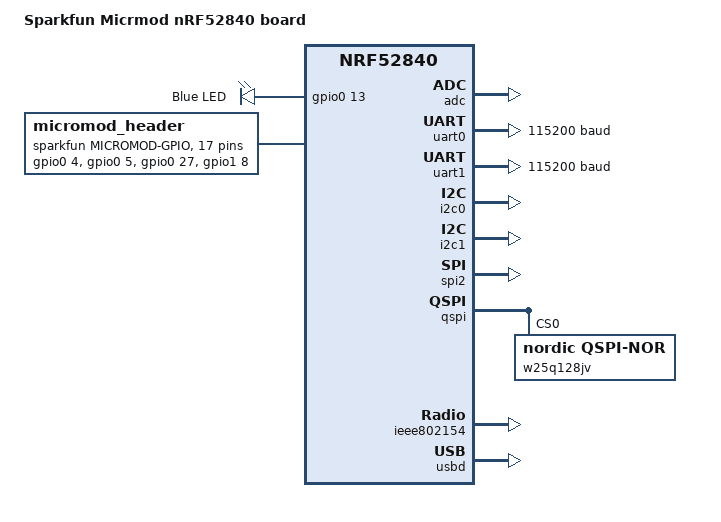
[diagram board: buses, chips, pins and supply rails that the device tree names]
/*
 * Copyright (c) 2024 Jerónimo Agulló <jeronimoagullo97@gmail.com>
 *
 * SPDX-License-Identifier: Apache-2.0
 */

/dts-v1/;
#include <nordic/nrf52840_qiaa.dtsi>
#include "micromod_nrf52840-pinctrl.dtsi"
#include <zephyr/dt-bindings/input/input-event-codes.h>

/ {
	model = "Sparkfun Micrmod nRF52840 board";
	compatible = "sparkfun,micromod-nrf52840";

	chosen {
		zephyr,console = &uart0;
		zephyr,sram = &sram0;
		zephyr,flash = &flash0;
		zephyr,code-partition = &slot0_partition;
		zephyr,ieee802154 = &ieee802154;
	};

	/* These aliases are provided for compatibility with samples */
	aliases {
		led0 = &led0;
		watchdog0 = &wdt0;
	};

	leds {
		compatible = "gpio-leds";
		led0: led_0 {
			gpios = <&gpio0 13 0>;
			label = "Blue LED";
		};
	};

	micromod_header: connector {
		compatible = "sparkfun,micromod-gpio";
		#gpio-cells = <2>;
		gpio-map-mask = <0xffffffff 0xffffffc0>;
		gpio-map-pass-thru = <0 0x3f>;
		gpio-map = <0 0 &gpio0 4 0>,	/* A0 */
			   <1 0 &gpio0 5 0>,	/* A1 */
			   <2 0 &gpio0 27 0>,	/* D0 */
			   <3 0 &gpio1 8 0>,	/* D1/CAM_TRIG */
			   <4 0 &gpio0 15 0>,	/* I2C_INT# */
			   <5 0 &gpio0 29 0>,	/* G0/BUS0 */
			   <6 0 &gpio0 3 0>,	/* G1/BUS1 */
			   <7 0 &gpio1 13 0>,	/* G2/BUS2 */
			   <8 0 &gpio1 12 0>,	/* G3/BUS3 */
			   <9 0 &gpio1 11 0>,	/* G4/BUS4 */
			   <10 0 &gpio0 17 0>,	/* G5/BUS5 */
			   <11 0 &gpio1 6 0>,	/* G6/BUS6 */
			   <12 0 &gpio1 4 0>,	/* G7/BUS7 */
			   <13 0 &gpio1 14 0>,	/* G8 */
			   <14 0 &gpio0 9 0>,	/* G9/ADC_D-/CAM_HSYNC */
			   <15 0 &gpio0 10 0>,	/* G10/ADC_D+/CAM_VSYNC */
			   //<16 NO CONNECTED	/* G11/SWO */
			   <17 0 &gpio0 20 0>;	/* SPI_CS */
	};
};

&adc {
	status = "okay";
};

&gpiote {
	status = "okay";
};

&gpio0 {
	status = "okay";
};

&gpio1 {
	status = "okay";
};

&uicr {
	nfct-pins-as-gpios;
	gpio-as-nreset;
};

&uart0 {
	compatible = "nordic,nrf-uarte";
	current-speed = <115200>;
	status = "okay";
	pinctrl-0 = <&uart0_default>;
	pinctrl-1 = <&uart0_sleep>;
	pinctrl-names = "default", "sleep";
};

&uart1 {
	compatible = "nordic,nrf-uarte";
	current-speed = <115200>;
	status = "okay";
	pinctrl-0 = <&uart1_default>;
	pinctrl-1 = <&uart1_sleep>;
	pinctrl-names = "default", "sleep";
};

&i2c0 {
	compatible = "nordic,nrf-twi";
	status = "okay";
	pinctrl-0 = <&i2c0_default>;
	pinctrl-1 = <&i2c0_sleep>;
	pinctrl-names = "default", "sleep";
};

&i2c1 {
	compatible = "nordic,nrf-twi";
	status = "okay";
	pinctrl-0 = <&i2c1_default>;
	pinctrl-1 = <&i2c1_sleep>;
	pinctrl-names = "default", "sleep";
};

&spi2 {
	compatible = "nordic,nrf-spi";
	status = "okay";
	cs-gpios = <&gpio0 20 GPIO_ACTIVE_LOW>;
	pinctrl-0 = <&spi0_default>;
	pinctrl-1 = <&spi0_sleep>;
	pinctrl-names = "default", "sleep";
};

&qspi {
	status = "okay";
	pinctrl-0 = <&qspi_default>;
	pinctrl-1 = <&qspi_sleep>;
	pinctrl-names = "default", "sleep";
	w25q128jv: w25q128jv@0 {
		status="okay";
		compatible = "nordic,qspi-nor";
		reg = <0>;
		writeoc = "pp4io";
		readoc = "read4io";
		sck-frequency = <DT_FREQ_M(32)>;
		jedec-id = [ef 70 18];
		size = <DT_SIZE_M(128)>;
		has-dpd;
		t-enter-dpd = <3000>;
		t-exit-dpd = <3000>;
	};
};

&ieee802154 {
	status = "okay";
};

&flash0 {

	partitions {
		compatible = "fixed-partitions";
		#address-cells = <1>;
		#size-cells = <1>;

		boot_partition: partition@0 {
			label = "mcuboot";
			reg = <0x00000000 0x00010000>;
		};
		slot0_partition: partition@10000 {
			label = "image-0";
			reg = <0x00010000 0x00076000>;
		};

		slot1_partition: partition@86000 {
			label = "image-1";
			reg = <0x00086000 0x00074000>;
		};

		/*
		 * The flash starting at 0x000f8000 and ending at
		 * 0x000fffff is reserved for use by the application.
		 */

		/*
		 * Storage partition will be used by FCB/LittleFS/NVS
		 * if enabled.
		 */

		storage_partition: partition@fA000 {
			label = "storage";
			reg = <0x000fA000 0x00006000>;
		};
	};
};

zephyr_udc0: &usbd {
	compatible = "nordic,nrf-usbd";
	status = "okay";
};

// Sparkfun Micromod compatible pins
micromod_1_uart: &uart0 {};
micromod_2_uart: &uart1 {};
micromod_0_i2c: &i2c0 {};
micromod_1_i2c: &i2c1 {};
micromod_0_spi: &spi2 {};
